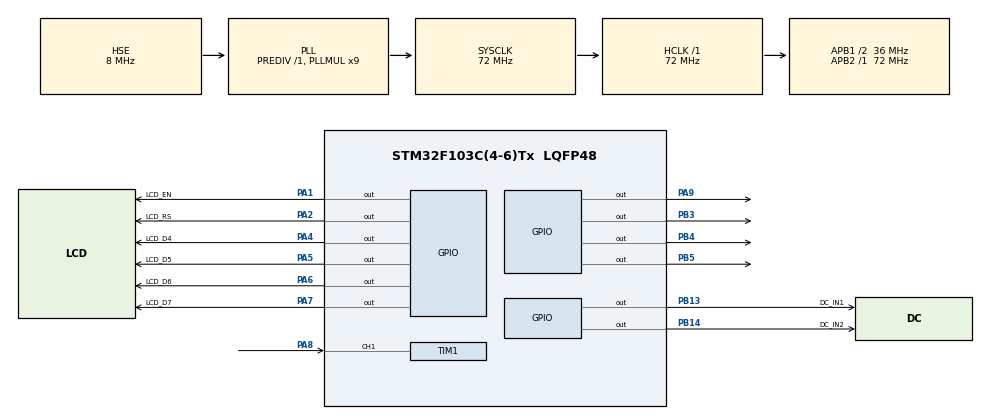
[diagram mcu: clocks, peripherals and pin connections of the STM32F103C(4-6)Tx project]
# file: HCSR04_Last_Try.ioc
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Mcu.Family=STM32F1
Mcu.Name=STM32F103C(4-6)Tx
Mcu.Package=LQFP48
NVIC.PriorityGroup=NVIC_PRIORITYGROUP_4
NVIC.TIM1_CC_IRQn=true\:0\:0\:false\:false\:true\:true\:true\:true
PA1.GPIO_Label=LCD_EN
PA1.Signal=GPIO_Output
PA13.Mode=Serial_Wire
PA13.Signal=SYS_JTMS-SWDIO
PA14.Mode=Serial_Wire
PA14.Signal=SYS_JTCK-SWCLK
PA2.GPIO_Label=LCD_RS
PA2.Signal=GPIO_Output
PA4.GPIO_Label=LCD_D4
PA4.Signal=GPIO_Output
PA5.GPIO_Label=LCD_D5
PA5.Signal=GPIO_Output
PA6.GPIO_Label=LCD_D6
PA6.Signal=GPIO_Output
PA7.GPIO_Label=LCD_D7
PA7.Signal=GPIO_Output
PA8.Signal=S_TIM1_CH1
PA9.Signal=GPIO_Output
PB13.GPIO_Label=DC_IN1
PB13.Signal=GPIO_Output
PB14.GPIO_Label=DC_IN2
PB14.Signal=GPIO_Output
PB3.Signal=GPIO_Output
PB4.Signal=GPIO_Output
PB5.Signal=GPIO_Output
PD0-OSC_IN.Mode=HSE-External-Oscillator
PD0-OSC_IN.Signal=RCC_OSC_IN
PD1-OSC_OUT.Mode=HSE-External-Oscillator
PD1-OSC_OUT.Signal=RCC_OSC_OUT
ProjectManager.HeapSize=0x200
ProjectManager.StackSize=0x400
ProjectManager.TargetToolchain=STM32CubeIDE
RCC.AHBFreq_Value=72000000
RCC.APB1CLKDivider=RCC_HCLK_DIV2
RCC.APB1Freq_Value=36000000
RCC.APB1TimFreq_Value=72000000
RCC.APB2Freq_Value=72000000
RCC.APB2TimFreq_Value=72000000
RCC.HCLKFreq_Value=72000000
RCC.PLLMUL=RCC_PLL_MUL9
RCC.PLLSourceVirtual=RCC_PLLSOURCE_HSE
RCC.SYSCLKFreq_VALUE=72000000
RCC.SYSCLKSource=RCC_SYSCLKSOURCE_PLLCLK
RCC.USBFreq_Value=72000000
SH.S_TIM1_CH1.0=TIM1_CH1,Input_Capture1_from_TI1
TIM1.Channel-Input_Capture1_from_TI1=TIM_CHANNEL_1
TIM1.Period=0xffff-1
TIM1.Prescaler=71
board=custom

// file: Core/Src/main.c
/* USER CODE BEGIN Header */
/**
  ******************************************************************************
  * @file           : main.c
  * @brief          : Main program body
  ******************************************************************************
  * @attention
  *
  * Copyright (c) 2022 STMicroelectronics.
  * All rights reserved.
  *
  * This software is licensed under terms that can be found in the LICENSE file
  * in the root directory of this software component.
  * If no LICENSE file comes with this software, it is provided AS-IS.
  *
  ******************************************************************************
  */
/* USER CODE END Header */
#include "main.h"

/* USER CODE BEGIN Includes */
#include "LCD.h"
#include "stdio.h"
/* USER CODE END Includes */

TIM_HandleTypeDef htim1;

void SystemClock_Config(void);
static void MX_GPIO_Init(void);
static void MX_TIM1_Init(void);

/* USER CODE BEGIN 0 */
void delay_us (uint16_t us) //us (mikrosaniye) fonksiyonu
{
    __HAL_TIM_SET_COUNTER(&htim1,0);  // counter degerini 0 olarak belirle
  	while (__HAL_TIM_GET_COUNTER(&htim1) < us);  // counter'in istenilen degere ulasmasini bekle
}

uint32_t First_Val = 0;
uint32_t Second_Val = 0;
uint32_t Difference = 0;
uint8_t Is_First_Captured = 0;
uint16_t Distance  = 0;

#define TRIG_PIN GPIO_PIN_9
#define TRIG_PORT GPIOA

void HAL_TIM_IC_CaptureCallback(TIM_HandleTypeDef *htim) //fonksiyonumuz, timer 1 de kullandigimiz input capture modu ile atimin genisligini olcmeyi hesaplamayi hedeflemektedir
{
	if (htim->Channel == HAL_TIM_ACTIVE_CHANNEL_1)
	{
		if (Is_First_Captured==0) // ilk deger daha alinmadiysa
		{
			First_Val = HAL_TIM_ReadCapturedValue(htim, TIM_CHANNEL_1); // aradaki zamani olcmek istediğim ilk degeri timer'da oku
			Is_First_Captured = 1;  // ilk degerin alindigini belirt
			__HAL_TIM_SET_CAPTUREPOLARITY(htim, TIM_CHANNEL_1, TIM_INPUTCHANNELPOLARITY_FALLING); //Bir nevi zamanlayiciyi baslatma, Timer1 deki frekansin high ya da low olmasini sagliyor
		}

		else if (Is_First_Captured==1)   // okunan ikinci deger olacaksa aradaki fark icin fonksiyona gir
		{
			Second_Val = HAL_TIM_ReadCapturedValue(htim, TIM_CHANNEL_1);  // ikinci degeri oku
			__HAL_TIM_SET_COUNTER(htim, 0);  // zamanlayiciyi 0'a cek, yani sifirla

			if (Second_Val > First_Val)	//aradaki farki almak için çıkar
			{
				Difference = Second_Val - First_Val;
			}

			else if (First_Val > Second_Val) //counter yonu yukari ama farkli olursa yani 0 dan 65536 ya saymak yerine 65536'dan tersine giderse aradaki farki almak icin
			{
				Difference = (0xffff - First_Val) + Second_Val;
			}

			Distance = Difference * 0.311/2; //Normalde datasheet'de formulu vardi ancak hata payi olusuyordu biraz, degerleri bir tik degistirerek kistim o hata payini.
			Is_First_Captured = 0; // fonksiyon basa donduğunde yeniden sayma yapabilmesi icin sıfıra aldık
			__HAL_TIM_SET_CAPTUREPOLARITY(htim, TIM_CHANNEL_1, TIM_INPUTCHANNELPOLARITY_RISING);
			__HAL_TIM_DISABLE_IT(&htim1, TIM_IT_CC1);
		}
	}
}
void HCSR04_Read (void)
{
	HAL_GPIO_WritePin(TRIG_PORT, TRIG_PIN, GPIO_PIN_SET);  // Sinyali gonderdigimiz Trig pinini çalıştır
	delay_us(10);  // 10 mikro saniye bekle
	HAL_GPIO_WritePin(TRIG_PORT, TRIG_PIN, GPIO_PIN_RESET);  // Sinyali gonderdigimiz Trig pinini durdur

	__HAL_TIM_ENABLE_IT(&htim1, TIM_IT_CC1); //interrupt ederek timer kullan
}
/* USER CODE END 0 */

int main(void)
{

  /* MCU Configuration--------------------------------------------------------*/

  /* Reset of all peripherals, Initializes the Flash interface and the Systick. */
  HAL_Init();

  /* Configure the system clock */
  SystemClock_Config();

  /* Initialize all configured peripherals */
  MX_GPIO_Init();
  MX_TIM1_Init();
  /* USER CODE BEGIN 2 */
  HAL_TIM_IC_Start_IT(&htim1,TIM_CHANNEL_1);
  lcd_init(_LCD_4BIT, _LCD_FONT_5x8, _LCD_2LINE); //LCD'yi calistir
  char lcd_uzunluk [64] = " "; //LCD kutuphanemiz, int yazamadiği icin int'i char'a donusturmek icin gecici bir alan
  lcd_print(1,1,"Mesafe"); //LCD'nin ilk satirina Mesafe yaz

  /* USER CODE END 2 */

  /* Infinite loop */
  while (1)
  {

    /* USER CODE BEGIN 3 */
	  HCSR04_Read(); //Mesafeyi olcen sensor degerini olcmek icin fonksiyonu calistir
	  sprintf(lcd_uzunluk,"%d",Distance); //Distance olarak olctugumuz mesafe degerini az once olusturudugumuz gecici char alana yazdir
	  lcd_print(2,1,lcd_uzunluk); //Uzunlugu char cinsinden yaz
	  lcd_print(2,5,"CM");	//yanina da CM yaz
	  HAL_Delay(20);

	  if(Distance<300 && Distance>0)  //Mesafe 0 ile 300 arasinda ise istenilen yonde motor dondur ve ısık yak
	  {
		  HAL_GPIO_WritePin(GPIOB,GPIO_PIN_3,GPIO_PIN_RESET);
		  HAL_GPIO_WritePin(GPIOB,GPIO_PIN_4,GPIO_PIN_SET);
		  HAL_GPIO_WritePin(GPIOB,GPIO_PIN_5,GPIO_PIN_SET);

		  HAL_GPIO_WritePin(GPIOB,GPIO_PIN_13,GPIO_PIN_RESET);
		  HAL_GPIO_WritePin(GPIOB,GPIO_PIN_14,GPIO_PIN_SET);
	  }
	  else if(Distance>=300 && Distance <400) //Mesafe 300 ile 400 arasinda ise istenilen yonde motor dondur (durdur) ve ısık yak
	  {
		  HAL_GPIO_WritePin(GPIOB,GPIO_PIN_3,GPIO_PIN_SET);
		  HAL_GPIO_WritePin(GPIOB,GPIO_PIN_4,GPIO_PIN_RESET);
		  HAL_GPIO_WritePin(GPIOB,GPIO_PIN_5,GPIO_PIN_SET);

		  HAL_GPIO_WritePin(GPIOB,GPIO_PIN_13,GPIO_PIN_SET);
		  HAL_GPIO_WritePin(GPIOB,GPIO_PIN_14,GPIO_PIN_SET);
	  }
	  else if(Distance>=400) //Mesafe 400'den buyuk ise istenilen yonde motor dondur ve ısık yak
	  {
		  HAL_GPIO_WritePin(GPIOB,GPIO_PIN_3,GPIO_PIN_SET);
		  HAL_GPIO_WritePin(GPIOB,GPIO_PIN_4,GPIO_PIN_SET);
		  HAL_GPIO_WritePin(GPIOB,GPIO_PIN_5,GPIO_PIN_RESET);

		  HAL_GPIO_WritePin(GPIOB,GPIO_PIN_13,GPIO_PIN_SET);
		  HAL_GPIO_WritePin(GPIOB,GPIO_PIN_14,GPIO_PIN_RESET);
	  }

  }
  /* USER CODE END 3 */
}

void SystemClock_Config(void)
{
  RCC_OscInitTypeDef RCC_OscInitStruct = {0};
  RCC_ClkInitTypeDef RCC_ClkInitStruct = {0};

  /** Initializes the RCC Oscillators according to the specified parameters
  * in the RCC_OscInitTypeDef structure.
  */
  RCC_OscInitStruct.OscillatorType = RCC_OSCILLATORTYPE_HSE;
  RCC_OscInitStruct.HSEState = RCC_HSE_ON;
  RCC_OscInitStruct.HSEPredivValue = RCC_HSE_PREDIV_DIV1;
  RCC_OscInitStruct.HSIState = RCC_HSI_ON;
  RCC_OscInitStruct.PLL.PLLState = RCC_PLL_ON;
  RCC_OscInitStruct.PLL.PLLSource = RCC_PLLSOURCE_HSE;
  RCC_OscInitStruct.PLL.PLLMUL = RCC_PLL_MUL9;
  if (HAL_RCC_OscConfig(&RCC_OscInitStruct) != HAL_OK)
  {
    Error_Handler();
  }

  /** Initializes the CPU, AHB and APB buses clocks
  */
  RCC_ClkInitStruct.ClockType = RCC_CLOCKTYPE_HCLK|RCC_CLOCKTYPE_SYSCLK
                              |RCC_CLOCKTYPE_PCLK1|RCC_CLOCKTYPE_PCLK2;
  RCC_ClkInitStruct.SYSCLKSource = RCC_SYSCLKSOURCE_PLLCLK;
  RCC_ClkInitStruct.AHBCLKDivider = RCC_SYSCLK_DIV1;
  RCC_ClkInitStruct.APB1CLKDivider = RCC_HCLK_DIV2;
  RCC_ClkInitStruct.APB2CLKDivider = RCC_HCLK_DIV1;

  if (HAL_RCC_ClockConfig(&RCC_ClkInitStruct, FLASH_LATENCY_2) != HAL_OK)
  {
    Error_Handler();
  }
}

static void MX_TIM1_Init(void)
{

  TIM_MasterConfigTypeDef sMasterConfig = {0};
  TIM_IC_InitTypeDef sConfigIC = {0};

  htim1.Instance = TIM1;
  htim1.Init.Prescaler = 71;
  htim1.Init.CounterMode = TIM_COUNTERMODE_UP;
  htim1.Init.Period = 0xffff-1;
  htim1.Init.ClockDivision = TIM_CLOCKDIVISION_DIV1;
  htim1.Init.RepetitionCounter = 0;
  htim1.Init.AutoReloadPreload = TIM_AUTORELOAD_PRELOAD_DISABLE;
  if (HAL_TIM_IC_Init(&htim1) != HAL_OK)
  {
    Error_Handler();
  }
  sMasterConfig.MasterOutputTrigger = TIM_TRGO_RESET;
  sMasterConfig.MasterSlaveMode = TIM_MASTERSLAVEMODE_DISABLE;
  if (HAL_TIMEx_MasterConfigSynchronization(&htim1, &sMasterConfig) != HAL_OK)
  {
    Error_Handler();
  }
  sConfigIC.ICPolarity = TIM_INPUTCHANNELPOLARITY_RISING;
  sConfigIC.ICSelection = TIM_ICSELECTION_DIRECTTI;
  sConfigIC.ICPrescaler = TIM_ICPSC_DIV1;
  sConfigIC.ICFilter = 0;
  if (HAL_TIM_IC_ConfigChannel(&htim1, &sConfigIC, TIM_CHANNEL_1) != HAL_OK)
  {
    Error_Handler();
  }

}

static void MX_GPIO_Init(void)
{
  GPIO_InitTypeDef GPIO_InitStruct = {0};

  /* GPIO Ports Clock Enable */
  __HAL_RCC_GPIOD_CLK_ENABLE();
  __HAL_RCC_GPIOA_CLK_ENABLE();
  __HAL_RCC_GPIOB_CLK_ENABLE();

  /*Configure GPIO pin Output Level */
  HAL_GPIO_WritePin(GPIOA, LCD_EN_Pin|LCD_RS_Pin|LCD_D4_Pin|LCD_D5_Pin
                          |LCD_D6_Pin|LCD_D7_Pin|GPIO_PIN_9, GPIO_PIN_RESET);

  /*Configure GPIO pin Output Level */
  HAL_GPIO_WritePin(GPIOB, DC_IN1_Pin|DC_IN2_Pin|GPIO_PIN_3|GPIO_PIN_4
                          |GPIO_PIN_5, GPIO_PIN_RESET);

  /*Configure GPIO pins : LCD_EN_Pin LCD_RS_Pin LCD_D4_Pin LCD_D5_Pin
                           LCD_D6_Pin LCD_D7_Pin PA9 */
  GPIO_InitStruct.Pin = LCD_EN_Pin|LCD_RS_Pin|LCD_D4_Pin|LCD_D5_Pin
                          |LCD_D6_Pin|LCD_D7_Pin|GPIO_PIN_9;
  GPIO_InitStruct.Mode = GPIO_MODE_OUTPUT_PP;
  GPIO_InitStruct.Pull = GPIO_NOPULL;
  GPIO_InitStruct.Speed = GPIO_SPEED_FREQ_LOW;
  HAL_GPIO_Init(GPIOA, &GPIO_InitStruct);

  /*Configure GPIO pins : DC_IN1_Pin DC_IN2_Pin PB3 PB4
                           PB5 */
  GPIO_InitStruct.Pin = DC_IN1_Pin|DC_IN2_Pin|GPIO_PIN_3|GPIO_PIN_4
                          |GPIO_PIN_5;
  GPIO_InitStruct.Mode = GPIO_MODE_OUTPUT_PP;
  GPIO_InitStruct.Pull = GPIO_NOPULL;
  GPIO_InitStruct.Speed = GPIO_SPEED_FREQ_LOW;
  HAL_GPIO_Init(GPIOB, &GPIO_InitStruct);

}

void Error_Handler(void)
{
  __disable_irq();
  while (1)
  {
  }
}
